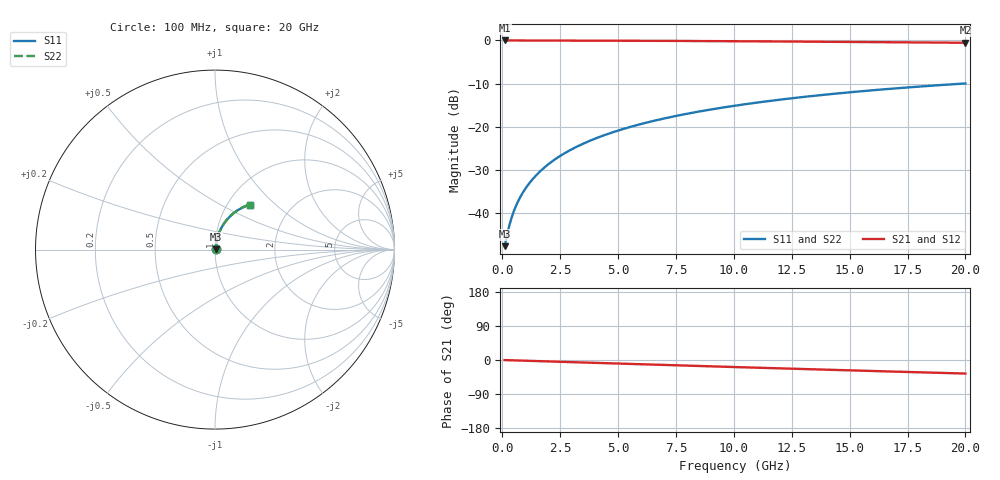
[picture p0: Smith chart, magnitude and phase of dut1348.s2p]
! Touchstone file exported from HFSS 2026.1.0
!  File:  C:/ffzhzh/LocalFiles/Ansys_Project_Files/temp_train_BSMRDL_1348_1783178988_18472.aedt
!  Generated:  11:30:57 PM Jul  4, 2026
!  Design:  BSMRDL
!  Project:  temp_train_BSMRDL_1348_1783178988_18472
! Variables:
!  h_bsmrdl = 2.85um
!  h_ox = 20um
!  h_rdl = 5um
!  h_sub = 80um
!  h_tmrdl = 5um
!  h_tsv = 80um
!  h_via = 3um
!  l_bsmrdl = 524.14um
!  l_sub = 924.14um
!  l_tmrdl = 200um
!  m_sub = 200um
!  pitch = 39.08um
!  r_tsv = 6um
!  s_tmrdl = 10um
!  w_bsmrdl = 19.16um
!  w_sub = 500um
!  w_tmrdl = 12um
!  x_tsv_center1 = 206um
!  x_tsv_center2 = 749.3um
!  x_tsv_center3 = 961.3um
!  x_tsv_center4 = 1504.6um
!  x_tsv_center5 = 1716.6um
!  x_tsv_center6 = 2259.9um
# GHz S MA R 50.000000
! Terminal data exported
! Port[1] = BSM_RDL1_1_T1
! Port[2] = BSM_RDL1_1_T2
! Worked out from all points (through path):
!   200 points, 100 MHz to 20 GHz, reference 50 ohm
!   highest |S21| = -0.03 dB at 100 MHz (marker M1); lowest = -0.6 dB at 20 GHz (marker M2)
!   group delay of S21, straight-line fit = 4.97 ps
!   lowest |S11| = -47.6 dB at 100 MHz (marker M3), VSWR 1.01, Z = 50.4 + j0.205 ohm
!   |S11| at or under -10 dB: start of sweep to 19.94 GHz
!   |S22| runs from -47.6 to -10.0 dB; largest |S21 - S12| = 3e-15
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0.1  0.004146 29.3  0.9964 -0.2  0.9964 -0.2  0.004146 29.3
! Gamma 0 0 0 0
! Port Impedance 50 0 50 0
0.3  0.007124 56.5  0.9961 -0.6  0.9961 -0.6  0.007124 56.5
0.4  0.008831 62.2  0.996 -0.8  0.996 -0.8  0.008831 62.2
0.5  0.01056 65.9  0.9958 -1.0  0.9958 -1.0  0.01056 65.9
0.6  0.01228 68.5  0.9957 -1.2  0.9957 -1.2  0.01228 68.6
0.8  0.01575 72.1  0.9955 -1.5  0.9955 -1.5  0.01575 72.1
1  0.01925 74.4  0.9953 -1.9  0.9953 -1.9  0.01925 74.4
1.2  0.02276 76.0  0.9951 -2.3  0.9951 -2.3  0.02276 76.0
1.4  0.0263 77.0  0.995 -2.7  0.995 -2.7  0.0263 77.0
1.7  0.03163 78.1  0.9947 -3.2  0.9947 -3.2  0.03163 78.1
2.2  0.04055 78.9  0.9943 -4.2  0.9943 -4.2  0.04055 78.9
2.8  0.05128 79.0  0.9936 -5.3  0.9936 -5.3  0.05128 79.0
3.5  0.06376 78.6  0.9927 -6.6  0.9927 -6.6  0.06376 78.6
4.2  0.07618 77.9  0.9916 -7.9  0.9916 -7.9  0.07618 77.9
5  0.09026 76.9  0.9901 -9.4  0.9901 -9.4  0.09026 76.9
5.9  0.1059 75.5  0.9881 -11.1  0.9881 -11.1  0.1059 75.6
6.8  0.1214 74.1  0.986 -12.7  0.986 -12.7  0.1214 74.1
8.3  0.1466 71.6  0.9819 -15.5  0.9819 -15.5  0.1466 71.7
10.1  0.176 68.6  0.9762 -18.7  0.9762 -18.7  0.176 68.6
13.4  0.227 63.0  0.9644 -24.6  0.9644 -24.6  0.227 63.1
16.7  0.2741 57.5  0.9511 -30.2  0.9511 -30.2  0.274 57.6
20  0.317 52.2  0.9371 -35.7  0.9371 -35.7  0.317 52.3
